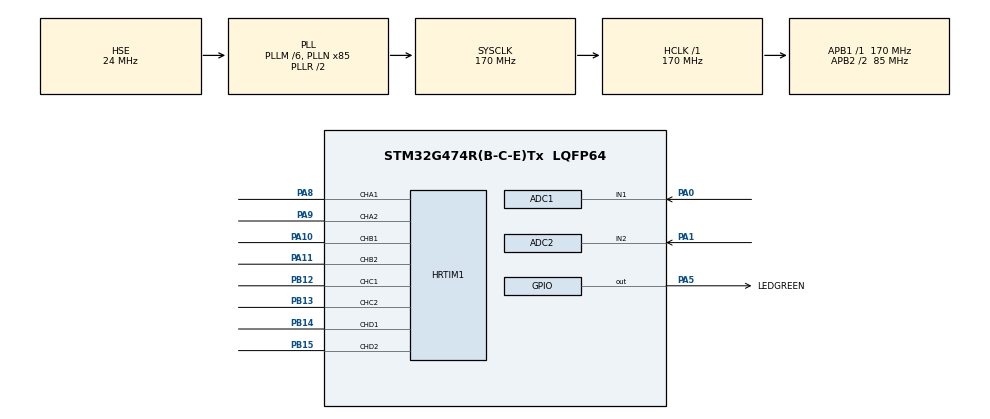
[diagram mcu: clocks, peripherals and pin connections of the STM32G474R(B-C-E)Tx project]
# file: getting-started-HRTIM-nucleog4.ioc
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ADC1.Channel-0\#ChannelRegularConversion=ADC_CHANNEL_1
ADC1.ContinuousConvMode=DISABLE
ADC1.DMAContinuousRequests=ENABLE
ADC1.EOCSelection=ADC_EOC_SEQ_CONV
ADC1.EnableInjectedConversion=DISABLE
ADC1.ExternalTrigConv=ADC_EXTERNALTRIG_HRTIM_TRG1
ADC1.NbrOfConversion=1
ADC1.NbrOfConversionFlag=1
ADC1.OffsetNumber-0\#ChannelRegularConversion=ADC_OFFSET_NONE
ADC1.Rank-0\#ChannelRegularConversion=1
ADC1.SamplingTime-0\#ChannelRegularConversion=ADC_SAMPLETIME_12CYCLES_5
ADC1.master=1
ADC2.Channel-0\#ChannelRegularConversion=ADC_CHANNEL_2
ADC2.ContinuousConvMode=DISABLE
ADC2.DMAContinuousRequests=ENABLE
ADC2.EOCSelection=ADC_EOC_SEQ_CONV
ADC2.ExternalTrigConv=ADC_EXTERNALTRIG_HRTIM_TRG3
ADC2.NbrOfConversion=1
ADC2.NbrOfConversionFlag=1
ADC2.SamplingTime-0\#ChannelRegularConversion=ADC_SAMPLETIME_12CYCLES_5
Dma.ADC1.0.Direction=DMA_PERIPH_TO_MEMORY
Dma.ADC1.0.EventEnable=DISABLE
Dma.ADC1.0.Instance=DMA1_Channel1
Dma.ADC1.0.MemDataAlignment=DMA_MDATAALIGN_WORD
Dma.ADC1.0.MemInc=DMA_MINC_ENABLE
Dma.ADC1.0.Mode=DMA_CIRCULAR
Dma.ADC1.0.PeriphDataAlignment=DMA_PDATAALIGN_HALFWORD
Dma.ADC1.0.PeriphInc=DMA_PINC_DISABLE
Dma.ADC1.0.Polarity=HAL_DMAMUX_REQ_GEN_RISING
Dma.ADC1.0.Priority=DMA_PRIORITY_VERY_HIGH
Dma.ADC1.0.RequestNumber=1
Dma.ADC1.0.SignalID=NONE
Dma.ADC1.0.SyncEnable=DISABLE
Dma.ADC1.0.SyncPolarity=HAL_DMAMUX_SYNC_NO_EVENT
Dma.ADC1.0.SyncRequestNumber=1
Dma.ADC1.0.SyncSignalID=NONE
Dma.ADC2.1.Direction=DMA_PERIPH_TO_MEMORY
Dma.ADC2.1.EventEnable=DISABLE
Dma.ADC2.1.Instance=DMA1_Channel2
Dma.ADC2.1.MemDataAlignment=DMA_MDATAALIGN_WORD
Dma.ADC2.1.MemInc=DMA_MINC_ENABLE
Dma.ADC2.1.Mode=DMA_CIRCULAR
Dma.ADC2.1.PeriphDataAlignment=DMA_PDATAALIGN_HALFWORD
Dma.ADC2.1.PeriphInc=DMA_PINC_DISABLE
Dma.ADC2.1.Polarity=HAL_DMAMUX_REQ_GEN_RISING
Dma.ADC2.1.Priority=DMA_PRIORITY_VERY_HIGH
Dma.ADC2.1.RequestNumber=1
Dma.ADC2.1.SignalID=NONE
Dma.ADC2.1.SyncEnable=DISABLE
Dma.ADC2.1.SyncPolarity=HAL_DMAMUX_SYNC_NO_EVENT
Dma.ADC2.1.SyncRequestNumber=1
Dma.ADC2.1.SyncSignalID=NONE
Dma.Request0=ADC1
Dma.Request1=ADC2
HRTIM1.ADCTrigger1_Source1=HRTIM_ADCTRIGGEREVENT13_TIMERA_CMP3
HRTIM1.ADCTrigger3_Source1=HRTIM_ADCTRIGGEREVENT13_TIMERD_CMP3
HRTIM1.ADCTrigger_Id1=HRTIM_ADCTRIGGER_1
HRTIM1.ADCTrigger_Id2=__NULL
HRTIM1.ADCTrigger_Id3=HRTIM_ADCTRIGGER_3
HRTIM1.ChopperModeconfig-Output_TA1TA2=__NULL
HRTIM1.CompareUnit1-MasterTimer=HRTIM_COMPAREUNIT_1
HRTIM1.CompareUnit1-Output_TA1TA2=HRTIM_COMPAREUNIT_1
HRTIM1.CompareUnit1-Output_TB1TB2=HRTIM_COMPAREUNIT_1
HRTIM1.CompareUnit1-Output_TC1TC2=HRTIM_COMPAREUNIT_1
HRTIM1.CompareUnit1-Output_TD1TD2=HRTIM_COMPAREUNIT_1
HRTIM1.CompareUnit2-MasterTimer=HRTIM_COMPAREUNIT_2
HRTIM1.CompareUnit3-MasterTimer=HRTIM_COMPAREUNIT_3
HRTIM1.CompareUnit3-Output_TA1TA2=HRTIM_COMPAREUNIT_3
HRTIM1.CompareUnit3-Output_TD1TD2=HRTIM_COMPAREUNIT_3
HRTIM1.CompareUnit4-MasterTimer=HRTIM_COMPAREUNIT_4
HRTIM1.CompareValue1-MasterTimer=TIMMASTER_PRESCALER*0.5
HRTIM1.CompareValue1-Output_TA1TA2=TIMA_PRESCALER*TIMA_DUTY_CYCLE
HRTIM1.CompareValue1-Output_TB1TB2=TIMB_PRESCALER*TIMB_DUTY_CYCLE
HRTIM1.CompareValue1-Output_TC1TC2=TIMB_PRESCALER*TIMB_DUTY_CYCLE
HRTIM1.CompareValue1-Output_TD1TD2=TIMA_PRESCALER*TIMA_DUTY_CYCLE
HRTIM1.CompareValue2-MasterTimer=TIMMASTER_PRESCALER*0.5
HRTIM1.CompareValue3-MasterTimer=TIMMASTER_PRESCALER*0.5
HRTIM1.CompareValue3-Output_TA1TA2=TIMA_PRESCALER
HRTIM1.CompareValue3-Output_TD1TD2=TIMA_PRESCALER
HRTIM1.CompareValue4-MasterTimer=TIMMASTER_PRESCALER*0.5
HRTIM1.Configuration_TA=Waveform
HRTIM1.Configuration_TB=Waveform
HRTIM1.DeadTimeInsertion-Output_TA1TA2=HRTIM_TIMDEADTIMEINSERTION_ENABLED
HRTIM1.DeadTimeInsertion-Output_TB1TB2=HRTIM_TIMDEADTIMEINSERTION_ENABLED
HRTIM1.DeadTimeInsertion-Output_TC1TC2=HRTIM_TIMDEADTIMEINSERTION_ENABLED
HRTIM1.DeadTimeInsertion-Output_TD1TD2=HRTIM_TIMDEADTIMEINSERTION_ENABLED
HRTIM1.FallingSign-Output_TB1TB2=HRTIM_TIMDEADTIME_FALLINGSIGN_NEGATIVE
HRTIM1.FallingSign-Output_TC1TC2=HRTIM_TIMDEADTIME_FALLINGSIGN_NEGATIVE
HRTIM1.FallingValue-Output_TA1TA2=DEADTIME
HRTIM1.FallingValue-Output_TB1TB2=DEADTIME
HRTIM1.FallingValue-Output_TC1TC2=DEADTIME
HRTIM1.FallingValue-Output_TD1TD2=DEADTIME
HRTIM1.GreaterCMP1_TA=HRTIM_TIMERGTCMP1_EQUAL
HRTIM1.InterruptRequests1_Master=HRTIM_MASTER_IT_MUPD
HRTIM1.ModeTimeBase-Output_TA1TA2=HRTIM_MODE_SINGLESHOT_RETRIGGERABLE
HRTIM1.ModeTimeBase-Output_TB1TB2=HRTIM_MODE_SINGLESHOT_RETRIGGERABLE
HRTIM1.ModeTimeBase-Output_TC1TC2=HRTIM_MODE_SINGLESHOT_RETRIGGERABLE
HRTIM1.ModeTimeBase-Output_TD1TD2=HRTIM_MODE_SINGLESHOT_RETRIGGERABLE
HRTIM1.NumberADCTriggerSource1=1
HRTIM1.NumberADCTriggerSource3=1
HRTIM1.NumberInterruptRequests_Master-MasterTimer=1
HRTIM1.NumberResetSource1-Output_TA1TA2=0
HRTIM1.NumberResetSource1-Output_TB1TB2=0
HRTIM1.NumberResetSource2_TB=0
HRTIM1.NumberResetTrigger-Output_TA1TA2=1
HRTIM1.NumberResetTrigger-Output_TB1TB2=1
HRTIM1.NumberResetTrigger-Output_TC1TC2=1
HRTIM1.NumberResetTrigger-Output_TD1TD2=1
HRTIM1.NumberSetSource1-Output_TA1TA2=1
HRTIM1.NumberSetSource1-Output_TB1TB2=1
HRTIM1.NumberSetSource1-Output_TC1TC2=1
HRTIM1.NumberSetSource1-Output_TD1TD2=1
HRTIM1.NumberSetSource2_TB=0
HRTIM1.NumberUpdateTrigger-Output_TA1TA2=0
HRTIM1.NumberUpdateTrigger-Output_TB1TB2=0
HRTIM1.ORingUpdateSource_ADCTrigger1=HRTIM_ADCTRIGGERUPDATE_TIMER_A
HRTIM1.ORingUpdateSource_ADCTrigger3=HRTIM_ADCTRIGGERUPDATE_TIMER_D
HRTIM1.Periode_MASTER=TIMMASTER_PRESCALER
HRTIM1.Periode_TA=TIMA_PRESCALER
HRTIM1.Periode_TB=TIMB_PRESCALER
HRTIM1.Periode_TC=TIMB_PRESCALER
HRTIM1.Periode_TD=TIMA_PRESCALER
HRTIM1.Polarity1-Output_TB1TB2=HRTIM_OUTPUTPOLARITY_LOW
HRTIM1.Polarity1-Output_TC1TC2=HRTIM_OUTPUTPOLARITY_LOW
HRTIM1.Polarity2-Output_TA1TA2=HRTIM_OUTPUTPOLARITY_HIGH
HRTIM1.Polarity2-Output_TB1TB2=HRTIM_OUTPUTPOLARITY_LOW
HRTIM1.Polarity2-Output_TC1TC2=HRTIM_OUTPUTPOLARITY_LOW
HRTIM1.PreloadEnable-MasterTimer=HRTIM_PRELOAD_ENABLED
HRTIM1.PreloadEnable-Output_TA1TA2=HRTIM_PRELOAD_ENABLED
HRTIM1.PreloadEnable-Output_TB1TB2=HRTIM_PRELOAD_ENABLED
HRTIM1.PreloadEnable-Output_TC1TC2=HRTIM_PRELOAD_ENABLED
HRTIM1.PreloadEnable-Output_TD1TD2=HRTIM_PRELOAD_ENABLED
HRTIM1.PrescalerRatio_TA=HRTIM_PRESCALERRATIO_MUL32
HRTIM1.RepetitionUpdate-MasterTimer=HRTIM_UPDATEONREPETITION_ENABLED
HRTIM1.ResetTrigger1-Output_TA1TA2=HRTIM_TIMRESETTRIGGER_MASTER_CMP1
HRTIM1.ResetTrigger1-Output_TB1TB2=HRTIM_TIMRESETTRIGGER_MASTER_CMP2
HRTIM1.ResetTrigger1-Output_TC1TC2=HRTIM_TIMRESETTRIGGER_MASTER_CMP3
HRTIM1.ResetTrigger1-Output_TD1TD2=HRTIM_TIMRESETTRIGGER_MASTER_CMP4
HRTIM1.ResetUpdate-Output_TA1TA2=HRTIM_TIMUPDATEONRESET_ENABLED
HRTIM1.ResetUpdate-Output_TB1TB2=HRTIM_TIMUPDATEONRESET_ENABLED
HRTIM1.ResetUpdate-Output_TC1TC2=HRTIM_TIMUPDATEONRESET_ENABLED
HRTIM1.ResetUpdate-Output_TD1TD2=HRTIM_TIMUPDATEONRESET_ENABLED
HRTIM1.RisingSign-Output_TB1TB2=HRTIM_TIMDEADTIME_RISINGSIGN_NEGATIVE
HRTIM1.RisingSign-Output_TC1TC2=HRTIM_TIMDEADTIME_RISINGSIGN_NEGATIVE
HRTIM1.RisingValue-Output_TA1TA2=DEADTIME
HRTIM1.RisingValue-Output_TB1TB2=DEADTIME
HRTIM1.RisingValue-Output_TC1TC2=DEADTIME
HRTIM1.RisingValue-Output_TD1TD2=DEADTIME
HRTIM1.SetOutput1_Source1-Output_TA1TA2=HRTIM_OUTPUTSET_TIMCMP1
HRTIM1.SetOutput1_Source1-Output_TB1TB2=HRTIM_OUTPUTSET_TIMCMP1
HRTIM1.SetOutput1_Source1-Output_TC1TC2=HRTIM_OUTPUTSET_TIMCMP1
HRTIM1.SetOutput1_Source1-Output_TD1TD2=HRTIM_OUTPUTSET_TIMCMP1
HRTIM1.StartOnSync-Output_TA1TA2=HRTIM_SYNCSTART_DISABLED
HRTIM1.StartOnSync-Output_TB1TB2=HRTIM_SYNCSTART_DISABLED
HRTIM1.SwapA=__NULL
HRTIM1.SyncOptions=HRTIM_SYNCOPTION_NONE
HRTIM1.UpDownMode-Output_TA1TA2=HRTIM_TIMERUPDOWNMODE_UPDOWN
HRTIM1.UpDownMode-Output_TB1TB2=HRTIM_TIMERUPDOWNMODE_UPDOWN
HRTIM1.UpDownMode-Output_TC1TC2=HRTIM_TIMERUPDOWNMODE_UPDOWN
HRTIM1.UpDownMode-Output_TD1TD2=HRTIM_TIMERUPDOWNMODE_UPDOWN
HRTIM1.postscaler1=0x0
HRTIM1.postscaler3=0x0
Mcu.Family=STM32G4
Mcu.Name=STM32G474R(B-C-E)Tx
Mcu.Package=LQFP64
Mcu.UserConstants=TIMA_PRESCALER,(1700*32/2);TIMB_PRESCALER,(1700*32/2);TIMB_DUTY_CYCLE,0;TIMMASTER_PRESCALER,(1700*32);TIMA_DUTY_CYCLE,0;DEADTIME,136
NVIC.DMA1_Channel1_IRQn=true\:0\:0\:false\:false\:true\:false\:true\:true
NVIC.DMA1_Channel2_IRQn=true\:0\:0\:false\:false\:true\:false\:true\:true
NVIC.HRTIM1_Master_IRQn=true\:0\:0\:false\:false\:true\:true\:true\:true
NVIC.PriorityGroup=NVIC_PRIORITYGROUP_4
PA0.Mode=IN1-Single-Ended
PA0.Signal=ADC1_IN1
PA1.Mode=IN2-Single-Ended
PA1.Signal=ADC2_IN2
PA10.Mode=Output_TB1TB2
PA10.Signal=HRTIM1_CHB1
PA11.Mode=Output_TB1TB2
PA11.Signal=HRTIM1_CHB2
PA13.Mode=Trace_Asynchronous_SW
PA13.Signal=SYS_JTMS-SWDIO
PA14.Mode=Trace_Asynchronous_SW
PA14.Signal=SYS_JTCK-SWCLK
PA5.GPIO_Label=LEDGREEN
PA5.Signal=GPIO_Output
PA8.Mode=Output_TA1TA2
PA8.Signal=HRTIM1_CHA1
PA9.Mode=Output_TA1TA2
PA9.Signal=HRTIM1_CHA2
PB12.Mode=Output_TC1TC2
PB12.Signal=HRTIM1_CHC1
PB13.Mode=Output_TC1TC2
PB13.Signal=HRTIM1_CHC2
PB14.Mode=Output_TD1TD2
PB14.Signal=HRTIM1_CHD1
PB15.Mode=Output_TD1TD2
PB15.Signal=HRTIM1_CHD2
PB3.Mode=Trace_Asynchronous_SW
PB3.Signal=SYS_JTDO-SWO
PF0-OSC_IN.Mode=HSE-External-Oscillator
PF0-OSC_IN.Signal=RCC_OSC_IN
PF1-OSC_OUT.Mode=HSE-External-Oscillator
PF1-OSC_OUT.Signal=RCC_OSC_OUT
ProjectManager.HeapSize=0x200
ProjectManager.StackSize=0x400
ProjectManager.TargetToolchain=STM32CubeIDE
RCC.ADC12Freq_Value=170000000
RCC.ADC345Freq_Value=170000000
RCC.AHBFreq_Value=170000000
RCC.APB1Freq_Value=170000000
RCC.APB1TimFreq_Value=170000000
RCC.APB2CLKDivider=RCC_HCLK_DIV2
RCC.APB2Freq_Value=85000000
RCC.APB2TimFreq_Value=170000000
RCC.CortexFreq_Value=170000000
RCC.EXTERNAL_CLOCK_VALUE=12288000
RCC.HCLKFreq_Value=170000000
RCC.HSE_VALUE=24000000
RCC.HSI48_VALUE=48000000
RCC.HSI_VALUE=16000000
RCC.LSE_VALUE=32768
RCC.PLLM=RCC_PLLM_DIV6
RCC.PLLN=85
RCC.PLLSourceVirtual=RCC_PLLSOURCE_HSE
RCC.SYSCLKFreq_VALUE=170000000
RCC.SYSCLKSource=RCC_SYSCLKSOURCE_PLLCLK
RCC.USBFreq_Value=170000000
RCC.VCOOutputFreq_Value=340000000
VP_HRTIM1_VS_hrtimMasterTimerNoOutput.Mode=MasterTimer
VP_SYS_VS_DBSignals.Mode=DisableDeadBatterySignals
board=custom

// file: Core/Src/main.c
/* USER CODE BEGIN Header */
/**
  ******************************************************************************
  * @file           : main.c
  * @brief          : Main program body
  ******************************************************************************
  * @attention
  *
  * Copyright (c) 2025 STMicroelectronics.
  * All rights reserved.
  *
  * This software is licensed under terms that can be found in the LICENSE file
  * in the root directory of this software component.
  * If no LICENSE file comes with this software, it is provided AS-IS.
  *
  ******************************************************************************
  */
/* USER CODE END Header */
#include "main.h"
#include "adc.h"
#include "dma.h"
#include "hrtim.h"
#include "gpio.h"

/* USER CODE BEGIN Includes */
#include "hrtimhandler_dcdc.h"
/* USER CODE END Includes */

/* USER CODE BEGIN PD */
#define ADCbufferlength 6 //half words
/* USER CODE END PD */

void SystemClock_Config(void);

/* USER CODE BEGIN 0 */

float toggle=1;

DABworkSetpoint_struct setpoint={
		.main_phase_diff=0,
		.primaryside_phase_diff=0,
		.secondaryside_phase_diff=0,
		.primaryside_duty=0,
		.secondaryside_duty=0
};

uint32_t ADCbufferA[ADCbufferlength]={0};
uint32_t ADCbufferB[ADCbufferlength]={0};
/* USER CODE END 0 */

int main(void)
{

  /* MCU Configuration--------------------------------------------------------*/

  /* Reset of all peripherals, Initializes the Flash interface and the Systick. */
  HAL_Init();

  /* Configure the system clock */
  SystemClock_Config();

  /* USER CODE BEGIN SysInit */
  MX_DMA_Init();
  __HAL_DMA_DISABLE_IT(&hdma_adc1,DMA_IT_HT);
  __HAL_DMA_DISABLE_IT(&hdma_adc2,DMA_IT_HT);
  __HAL_DMA_DISABLE_IT(&hdma_adc1,DMA_IT_TC);
  __HAL_DMA_DISABLE_IT(&hdma_adc2,DMA_IT_TC);
  /* USER CODE END SysInit */

  /* Initialize all configured peripherals */
  MX_GPIO_Init();
  MX_DMA_Init();
  MX_HRTIM1_Init();
  MX_ADC1_Init();
  MX_ADC2_Init();
  /* USER CODE BEGIN 2 */

  HRTIM_dcdc_setup(&hhrtim1);
  HAL_ADC_Start_DMA(&hadc1, ADCbufferA, ADCbufferlength);
  HAL_ADC_Start_DMA(&hadc2, ADCbufferB, ADCbufferlength);

  /* USER CODE END 2 */

  /* Infinite loop */
  /* USER CODE BEGIN WHILE */

  while (1)
  {

	  HAL_Delay(100);
	  HAL_GPIO_TogglePin(LEDGREEN_GPIO_Port, LEDGREEN_Pin);

	  if(setpoint.main_phase_diff>0.2 || setpoint.main_phase_diff<-0.2){
	  toggle*=-1;
	  }

	  setpoint.main_phase_diff+=0.01*toggle;

	  HRTIM_set_phases(&setpoint);
	  HRTIM_set_primaryandsecondary_duty(&setpoint);

	  //slow start
	  if(setpoint.primaryside_duty<0.5){
		  setpoint.primaryside_duty+=0.01;
	  }

	  if(setpoint.secondaryside_duty<0.5){
		  setpoint.secondaryside_duty+=0.01;
	  }
    /* USER CODE END WHILE */

  }
}

void SystemClock_Config(void)
{
  RCC_OscInitTypeDef RCC_OscInitStruct = {0};
  RCC_ClkInitTypeDef RCC_ClkInitStruct = {0};

  /** Configure the main internal regulator output voltage
  */
  HAL_PWREx_ControlVoltageScaling(PWR_REGULATOR_VOLTAGE_SCALE1_BOOST);

  /** Initializes the RCC Oscillators according to the specified parameters
  * in the RCC_OscInitTypeDef structure.
  */
  RCC_OscInitStruct.OscillatorType = RCC_OSCILLATORTYPE_HSE;
  RCC_OscInitStruct.HSEState = RCC_HSE_ON;
  RCC_OscInitStruct.PLL.PLLState = RCC_PLL_ON;
  RCC_OscInitStruct.PLL.PLLSource = RCC_PLLSOURCE_HSE;
  RCC_OscInitStruct.PLL.PLLM = RCC_PLLM_DIV6;
  RCC_OscInitStruct.PLL.PLLN = 85;
  RCC_OscInitStruct.PLL.PLLP = RCC_PLLP_DIV2;
  RCC_OscInitStruct.PLL.PLLQ = RCC_PLLQ_DIV2;
  RCC_OscInitStruct.PLL.PLLR = RCC_PLLR_DIV2;
  if (HAL_RCC_OscConfig(&RCC_OscInitStruct) != HAL_OK)
  {
    Error_Handler();
  }

  /** Initializes the CPU, AHB and APB buses clocks
  */
  RCC_ClkInitStruct.ClockType = RCC_CLOCKTYPE_HCLK|RCC_CLOCKTYPE_SYSCLK
                              |RCC_CLOCKTYPE_PCLK1|RCC_CLOCKTYPE_PCLK2;
  RCC_ClkInitStruct.SYSCLKSource = RCC_SYSCLKSOURCE_PLLCLK;
  RCC_ClkInitStruct.AHBCLKDivider = RCC_SYSCLK_DIV1;
  RCC_ClkInitStruct.APB1CLKDivider = RCC_HCLK_DIV1;
  RCC_ClkInitStruct.APB2CLKDivider = RCC_HCLK_DIV2;

  if (HAL_RCC_ClockConfig(&RCC_ClkInitStruct, FLASH_LATENCY_4) != HAL_OK)
  {
    Error_Handler();
  }
}

void Error_Handler(void)
{
  __disable_irq();
  while (1)
  {
  }
}
